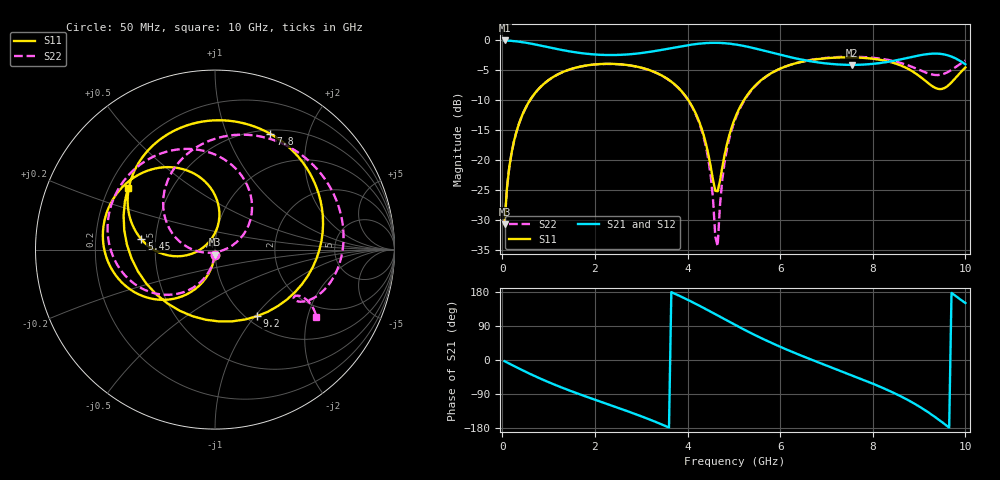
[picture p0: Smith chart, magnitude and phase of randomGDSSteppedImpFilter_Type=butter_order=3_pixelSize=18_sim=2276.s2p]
! freq	dB(S11)	phase(S11)	dB(S12)	phase(S12)
!  dB(S21)	phase(S21)	dB(S22)	phase(S22)
!S-par simulation data
#  GHz  S  DB  R 50
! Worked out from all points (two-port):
!   200 points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, 50 MHz to 10 GHz, reference 50 ohm
!   highest |S21| = -0.01 dB at 50 MHz (marker M1); lowest = -4.1 dB at 7.55 GHz (marker M2)
!   |S21| within 3 dB of the highest: start of sweep to 6.337 GHz; 8.702 GHz to 9.787 GHz (1.085 GHz wide, 11.7 % of centre)
!   lowest |S11| = -30.7 dB at 50 MHz (marker M3), VSWR 1.06, Z = 49.8 - j2.9 ohm
!   |S11| at or under -10 dB: start of sweep to 598.1 MHz; 4.018 GHz to 5.218 GHz (1.2 GHz wide, 26 % of centre)
!   |S22| runs from -34.4 to -2.7 dB; largest |S21 - S12| = 0
!   S11 on the Smith chart (normalised r, x): 50 MHz: 1.00, -0.06; 5.45 GHz: 0.42, +0.06; 7.8 GHz: 0.55, +1.44; 9.2 GHz: 1.11, -1.02; 10 GHz: 0.28, +0.29
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0.05  -30.71 -93.2  -0.01 -3.2  -0.01 -3.2  -30.72 -93.5
0.2  -18.82 -102.3  -0.08 -12.6  -0.08 -12.6  -18.82 -103.8
0.5  -11.34 -119.5  -0.37 -30.9  -0.37 -30.9  -11.35 -123.2
1.05  -6.35 -147.7  -1.23 -61.1  -1.23 -61.1  -6.36 -155.6
1.75  -4.28 -177.7  -2.17 -94.0  -2.17 -94.0  -4.29 168.7
2.7  -4.11 146.0  -2.35 -134.9  -2.35 -134.9  -4.13 123.6
3.4  -5.69 118.0  -1.64 -167.8  -1.64 -167.8  -5.71 87.2
4.3  -14.64 82.5  -0.51 140.5  -0.51 140.5  -14.89 28.0
4.5  -21.08 91.2  -0.41 127.5  -0.41 127.5  -22.60 7.3
4.65  -25.23 148.8  -0.41 117.6  -0.41 117.6  -34.40 -114.9
4.8  -19.16 -172.3  -0.46 107.6  -0.46 107.6  -20.37 -174.2
5.05  -12.53 -171.2  -0.69 91.2  -0.69 91.2  -12.80 163.0
5.45  -7.65 172.0  -1.33 66.1  -1.33 66.1  -7.73 134.4
6.1  -4.40 141.8  -2.59 29.7  -2.59 29.7  -4.41 94.4
6.7  -3.24 115.3  -3.54 -0.3  -3.54 -0.3  -3.21 62.4
7.55  -2.83 76.9  -4.09 -40.4  -4.09 -40.4  -2.73 22.3
7.8  -2.92 64.4  -4.04 -52.5  -4.04 -52.5  -2.79 11.4
8.35  -3.55 32.0  -3.55 -80.9  -3.55 -80.9  -3.29 -11.1
8.8  -4.91 -5.0  -2.84 -108.3  -2.84 -108.3  -4.27 -26.3
9.2  -7.16 -57.9  -2.27 -138.1  -2.27 -138.1  -5.52 -32.3
9.55  -7.96 -131.5  -2.36 -169.0  -2.36 -169.0  -5.54 -29.0
10  -4.52 144.8  -4.00 150.3  -4.00 150.3  -3.36 -33.6
